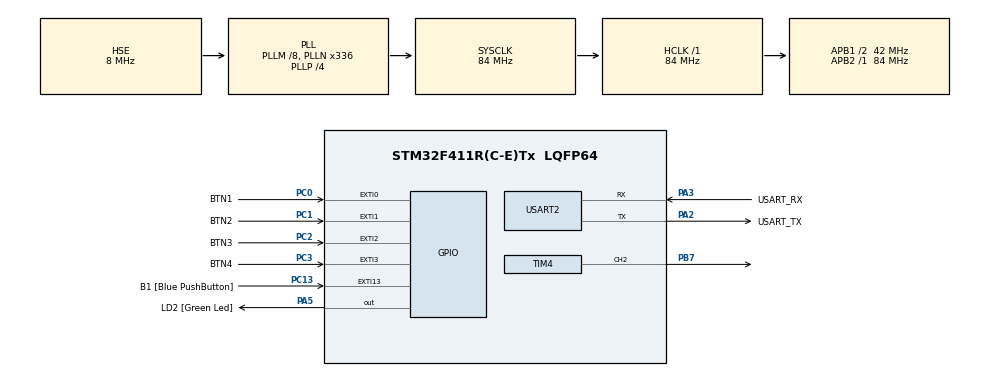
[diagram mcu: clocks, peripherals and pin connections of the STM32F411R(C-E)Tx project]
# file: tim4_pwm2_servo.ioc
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Mcu.Family=STM32F4
Mcu.Name=STM32F411R(C-E)Tx
Mcu.Package=LQFP64
NVIC.EXTI0_IRQn=true\:0\:0\:false\:false\:true\:true\:true\:true
NVIC.EXTI1_IRQn=true\:0\:0\:false\:false\:true\:true\:true\:true
NVIC.EXTI2_IRQn=true\:0\:0\:false\:false\:true\:true\:true\:true
NVIC.EXTI3_IRQn=true\:0\:0\:false\:false\:true\:true\:true\:true
NVIC.PriorityGroup=NVIC_PRIORITYGROUP_0
PA13.GPIO_Label=TMS
PA13.Mode=Serial_Wire
PA13.Signal=SYS_JTMS-SWDIO
PA14.GPIO_Label=TCK
PA14.Mode=Serial_Wire
PA14.Signal=SYS_JTCK-SWCLK
PA2.GPIO_Label=USART_TX
PA2.Mode=Asynchronous
PA2.Signal=USART2_TX
PA3.GPIO_Label=USART_RX
PA3.Mode=Asynchronous
PA3.Signal=USART2_RX
PA5.GPIO_Label=LD2 [Green Led]
PA5.Signal=GPIO_Output
PB3.GPIO_Label=SWO
PB3.Signal=SYS_JTDO-SWO
PB7.Signal=S_TIM4_CH2
PC0.GPIO_Label=BTN1
PC0.Signal=GPXTI0
PC1.GPIO_Label=BTN2
PC1.Signal=GPXTI1
PC13-ANTI_TAMP.GPIO_Label=B1 [Blue PushButton]
PC13-ANTI_TAMP.GPIO_ModeDefaultEXTI=GPIO_MODE_IT_FALLING
PC13-ANTI_TAMP.Signal=GPXTI13
PC14-OSC32_IN.Signal=RCC_OSC32_IN
PC15-OSC32_OUT.Signal=RCC_OSC32_OUT
PC2.GPIO_Label=BTN3
PC2.Signal=GPXTI2
PC3.GPIO_Label=BTN4
PC3.Signal=GPXTI3
PH0\ -\ OSC_IN.Mode=HSE-External-Oscillator
PH0\ -\ OSC_IN.Signal=RCC_OSC_IN
PH1\ -\ OSC_OUT.Mode=HSE-External-Oscillator
PH1\ -\ OSC_OUT.Signal=RCC_OSC_OUT
ProjectManager.HeapSize=0x200
ProjectManager.StackSize=0x400
ProjectManager.TargetToolchain=STM32CubeIDE
RCC.48MHZClocksFreq_Value=84000000
RCC.AHBFreq_Value=84000000
RCC.APB1CLKDivider=RCC_HCLK_DIV2
RCC.APB1Freq_Value=42000000
RCC.APB1TimFreq_Value=84000000
RCC.APB2Freq_Value=84000000
RCC.APB2TimFreq_Value=84000000
RCC.CortexFreq_Value=84000000
RCC.FLatency-AdvancedSettings=FLASH_LATENCY_2
RCC.HCLKFreq_Value=84000000
RCC.HSE_VALUE=8000000
RCC.HSI_VALUE=16000000
RCC.PLLM=8
RCC.PLLN=336
RCC.PLLP=RCC_PLLP_DIV4
RCC.PLLSourceVirtual=RCC_PLLSOURCE_HSE
RCC.SYSCLKFreq_VALUE=84000000
RCC.SYSCLKSource=RCC_SYSCLKSOURCE_PLLCLK
RCC.VCOOutputFreq_Value=336000000
SH.S_TIM4_CH2.0=TIM4_CH2,PWM Generation2 CH2
TIM4.Channel-PWM\ Generation2\ CH2=TIM_CHANNEL_2
TIM4.Period=20000-1
TIM4.Prescaler=84-1
TIM4.Pulse-PWM\ Generation2\ CH2=500
USART2.VirtualMode=VM_ASYNC
VP_TIM4_VS_ClockSourceINT.Mode=Internal
board=NUCLEO-F411RE

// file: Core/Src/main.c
/* USER CODE BEGIN Header */
/**
 * TIM4 PWM2 PB7 - Servo Motor
  ******************************************************************************
  * @file           : main.c
  * @brief          : Main program body
  ******************************************************************************
  * @attention
  *
  * Copyright (c) 2024 STMicroelectronics.
  * All rights reserved.
  *
  * This software is licensed under terms that can be found in the LICENSE file
  * in the root directory of this software component.
  * If no LICENSE file comes with this software, it is provided AS-IS.
  *
  ******************************************************************************
  */
/* USER CODE END Header */
#include "main.h"

/* USER CODE BEGIN Includes */
#include <stdio.h>
/* USER CODE END Includes */

/* USER CODE BEGIN PD */
#ifdef __GNUC__
/* With GCC, small printf (option LD Linker->Libraries->Small printf
   set to 'Yes') calls __io_putchar() */
#define PUTCHAR_PROTOTYPE int __io_putchar(int ch)
#else
#define PUTCHAR_PROTOTYPE int fputc(int ch, FILE *f)
#endif /* __GNUC__ */
/* USER CODE END PD */

TIM_HandleTypeDef htim4;

UART_HandleTypeDef huart2;

/* USER CODE BEGIN PV */
volatile int keyNo;
/* USER CODE END PV */

void SystemClock_Config(void);
static void MX_GPIO_Init(void);
static void MX_USART2_UART_Init(void);
static void MX_TIM4_Init(void);

int main(void)
{

  /* USER CODE BEGIN 1 */
	int pluse=500;
  /* USER CODE END 1 */

  /* MCU Configuration--------------------------------------------------------*/

  /* Reset of all peripherals, Initializes the Flash interface and the Systick. */
  HAL_Init();

  /* Configure the system clock */
  SystemClock_Config();

  /* Initialize all configured peripherals */
  MX_GPIO_Init();
  MX_USART2_UART_Init();
  MX_TIM4_Init();
  /* USER CODE BEGIN 2 */
  HAL_TIM_PWM_Start(&htim4,TIM_CHANNEL_2);
  /* USER CODE END 2 */

  /* Infinite loop */
  /* USER CODE BEGIN WHILE */
  while (1)
  {
/*
	 __HAL_TIM_SetCompare(&htim4,TIM_CHANNEL_2,500);	//-90?��
	 HAL_Delay(1000);
	 __HAL_TIM_SetCompare(&htim4,TIM_CHANNEL_2,1000);
	 HAL_Delay(1000);
	 __HAL_TIM_SetCompare(&htim4,TIM_CHANNEL_2,1500); //0?��
	 HAL_Delay(1000);
	 __HAL_TIM_SetCompare(&htim4,TIM_CHANNEL_2,2000);
	 HAL_Delay(1000);
	 __HAL_TIM_SetCompare(&htim4,TIM_CHANNEL_2,2500);	//90?��
	 HAL_Delay(1000);
*/
	  if(keyNo != 0)
	  {
		  if((keyNo == 1) && (pluse > 500))	//down
		  {
			  pluse -= 200;
		  }
		  if((keyNo == 2) && (pluse < 2500))	//up
		  {
			  pluse += 200;
		  }

		  else if(keyNo == 3)	//stop
		  {
			  pluse = 500;
		  }
		  else if(keyNo == 4)	//start
		  {
			  pluse = 2500;
		  }
		  __HAL_TIM_SetCompare(&htim4,TIM_CHANNEL_2,(pluse-1)<0?0:pluse-1);
		  printf("keyNo : %u, pluse : %d\r\n",keyNo,pluse);
		  keyNo = 0;
	  }

    /* USER CODE END WHILE */

  }
}

void SystemClock_Config(void)
{
  RCC_OscInitTypeDef RCC_OscInitStruct = {0};
  RCC_ClkInitTypeDef RCC_ClkInitStruct = {0};

  /** Configure the main internal regulator output voltage
  */
  __HAL_RCC_PWR_CLK_ENABLE();
  __HAL_PWR_VOLTAGESCALING_CONFIG(PWR_REGULATOR_VOLTAGE_SCALE1);

  /** Initializes the RCC Oscillators according to the specified parameters
  * in the RCC_OscInitTypeDef structure.
  */
  RCC_OscInitStruct.OscillatorType = RCC_OSCILLATORTYPE_HSE;
  RCC_OscInitStruct.HSEState = RCC_HSE_ON;
  RCC_OscInitStruct.PLL.PLLState = RCC_PLL_ON;
  RCC_OscInitStruct.PLL.PLLSource = RCC_PLLSOURCE_HSE;
  RCC_OscInitStruct.PLL.PLLM = 8;
  RCC_OscInitStruct.PLL.PLLN = 336;
  RCC_OscInitStruct.PLL.PLLP = RCC_PLLP_DIV4;
  RCC_OscInitStruct.PLL.PLLQ = 4;
  if (HAL_RCC_OscConfig(&RCC_OscInitStruct) != HAL_OK)
  {
    Error_Handler();
  }

  /** Initializes the CPU, AHB and APB buses clocks
  */
  RCC_ClkInitStruct.ClockType = RCC_CLOCKTYPE_HCLK|RCC_CLOCKTYPE_SYSCLK
                              |RCC_CLOCKTYPE_PCLK1|RCC_CLOCKTYPE_PCLK2;
  RCC_ClkInitStruct.SYSCLKSource = RCC_SYSCLKSOURCE_PLLCLK;
  RCC_ClkInitStruct.AHBCLKDivider = RCC_SYSCLK_DIV1;
  RCC_ClkInitStruct.APB1CLKDivider = RCC_HCLK_DIV2;
  RCC_ClkInitStruct.APB2CLKDivider = RCC_HCLK_DIV1;

  if (HAL_RCC_ClockConfig(&RCC_ClkInitStruct, FLASH_LATENCY_2) != HAL_OK)
  {
    Error_Handler();
  }
}

static void MX_TIM4_Init(void)
{

  TIM_ClockConfigTypeDef sClockSourceConfig = {0};
  TIM_MasterConfigTypeDef sMasterConfig = {0};
  TIM_OC_InitTypeDef sConfigOC = {0};

  htim4.Instance = TIM4;
  htim4.Init.Prescaler = 84-1;
  htim4.Init.CounterMode = TIM_COUNTERMODE_UP;
  htim4.Init.Period = 20000-1;
  htim4.Init.ClockDivision = TIM_CLOCKDIVISION_DIV1;
  htim4.Init.AutoReloadPreload = TIM_AUTORELOAD_PRELOAD_DISABLE;
  if (HAL_TIM_Base_Init(&htim4) != HAL_OK)
  {
    Error_Handler();
  }
  sClockSourceConfig.ClockSource = TIM_CLOCKSOURCE_INTERNAL;
  if (HAL_TIM_ConfigClockSource(&htim4, &sClockSourceConfig) != HAL_OK)
  {
    Error_Handler();
  }
  if (HAL_TIM_PWM_Init(&htim4) != HAL_OK)
  {
    Error_Handler();
  }
  sMasterConfig.MasterOutputTrigger = TIM_TRGO_RESET;
  sMasterConfig.MasterSlaveMode = TIM_MASTERSLAVEMODE_DISABLE;
  if (HAL_TIMEx_MasterConfigSynchronization(&htim4, &sMasterConfig) != HAL_OK)
  {
    Error_Handler();
  }
  sConfigOC.OCMode = TIM_OCMODE_PWM1;
  sConfigOC.Pulse = 500;
  sConfigOC.OCPolarity = TIM_OCPOLARITY_HIGH;
  sConfigOC.OCFastMode = TIM_OCFAST_DISABLE;
  if (HAL_TIM_PWM_ConfigChannel(&htim4, &sConfigOC, TIM_CHANNEL_2) != HAL_OK)
  {
    Error_Handler();
  }
  HAL_TIM_MspPostInit(&htim4);

}

static void MX_USART2_UART_Init(void)
{

  huart2.Instance = USART2;
  huart2.Init.BaudRate = 115200;
  huart2.Init.WordLength = UART_WORDLENGTH_8B;
  huart2.Init.StopBits = UART_STOPBITS_1;
  huart2.Init.Parity = UART_PARITY_NONE;
  huart2.Init.Mode = UART_MODE_TX_RX;
  huart2.Init.HwFlowCtl = UART_HWCONTROL_NONE;
  huart2.Init.OverSampling = UART_OVERSAMPLING_16;
  if (HAL_UART_Init(&huart2) != HAL_OK)
  {
    Error_Handler();
  }

}

static void MX_GPIO_Init(void)
{
  GPIO_InitTypeDef GPIO_InitStruct = {0};

  /* GPIO Ports Clock Enable */
  __HAL_RCC_GPIOC_CLK_ENABLE();
  __HAL_RCC_GPIOH_CLK_ENABLE();
  __HAL_RCC_GPIOA_CLK_ENABLE();
  __HAL_RCC_GPIOB_CLK_ENABLE();

  /*Configure GPIO pin Output Level */
  HAL_GPIO_WritePin(LD2_GPIO_Port, LD2_Pin, GPIO_PIN_RESET);

  /*Configure GPIO pin : B1_Pin */
  GPIO_InitStruct.Pin = B1_Pin;
  GPIO_InitStruct.Mode = GPIO_MODE_IT_FALLING;
  GPIO_InitStruct.Pull = GPIO_NOPULL;
  HAL_GPIO_Init(B1_GPIO_Port, &GPIO_InitStruct);

  /*Configure GPIO pins : BTN1_Pin BTN2_Pin BTN3_Pin BTN4_Pin */
  GPIO_InitStruct.Pin = BTN1_Pin|BTN2_Pin|BTN3_Pin|BTN4_Pin;
  GPIO_InitStruct.Mode = GPIO_MODE_IT_RISING;
  GPIO_InitStruct.Pull = GPIO_NOPULL;
  HAL_GPIO_Init(GPIOC, &GPIO_InitStruct);

  /*Configure GPIO pin : LD2_Pin */
  GPIO_InitStruct.Pin = LD2_Pin;
  GPIO_InitStruct.Mode = GPIO_MODE_OUTPUT_PP;
  GPIO_InitStruct.Pull = GPIO_NOPULL;
  GPIO_InitStruct.Speed = GPIO_SPEED_FREQ_LOW;
  HAL_GPIO_Init(LD2_GPIO_Port, &GPIO_InitStruct);

  /* EXTI interrupt init*/
  HAL_NVIC_SetPriority(EXTI0_IRQn, 0, 0);
  HAL_NVIC_EnableIRQ(EXTI0_IRQn);

  HAL_NVIC_SetPriority(EXTI1_IRQn, 0, 0);
  HAL_NVIC_EnableIRQ(EXTI1_IRQn);

  HAL_NVIC_SetPriority(EXTI2_IRQn, 0, 0);
  HAL_NVIC_EnableIRQ(EXTI2_IRQn);

  HAL_NVIC_SetPriority(EXTI3_IRQn, 0, 0);
  HAL_NVIC_EnableIRQ(EXTI3_IRQn);

}

/* USER CODE BEGIN 4 */
/**
  * @brief  Retargets the C library printf function to the USART.
  * @param  None
  * @retval None
  */
PUTCHAR_PROTOTYPE
{
  /* Place your implementation of fputc here */
  /* e.g. write a character to the USART6 and Loop until the end of transmission */
  HAL_UART_Transmit(&huart2, (uint8_t *)&ch, 1, 0xFFFF);

  return ch;
}
void HAL_GPIO_EXTI_Callback(uint16_t GPIO_Pin)
{
	switch(GPIO_Pin)
	{
	 case BTN1_Pin:
		 keyNo = 1;
		 break;
	 case BTN2_Pin:
		 keyNo = 2;
		 break;
	 case BTN3_Pin:
		 keyNo = 3;
		 break;
	 case BTN4_Pin:
		 keyNo = 4;
		 break;
	}
}
/* USER CODE END 4 */

void Error_Handler(void)
{
  __disable_irq();
  while (1)
  {
  }
}
